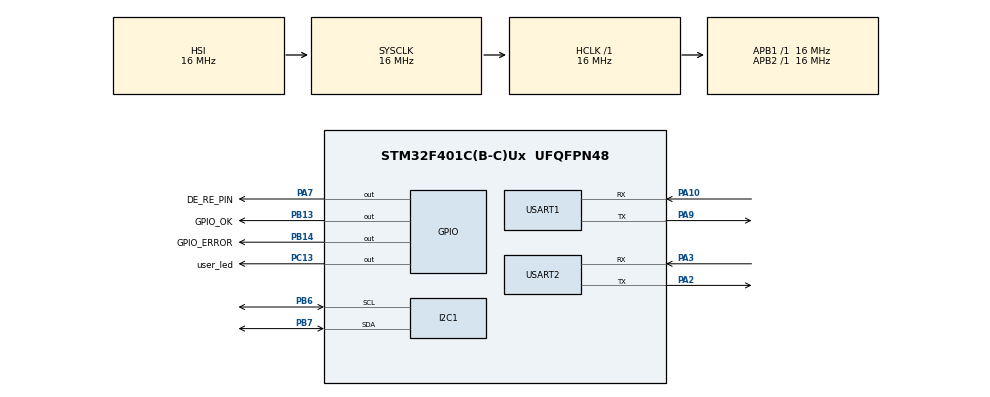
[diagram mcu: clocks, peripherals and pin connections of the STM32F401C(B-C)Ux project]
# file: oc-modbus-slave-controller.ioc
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FREERTOS.Tasks01=defaultTask,0,128,StartDefaultTask,Default,NULL,Dynamic,NULL,NULL
Mcu.Family=STM32F4
Mcu.Name=STM32F401C(B-C)Ux
Mcu.Package=UFQFPN48
NVIC.PriorityGroup=NVIC_PRIORITYGROUP_4
NVIC.TIM1_UP_TIM10_IRQn=true\:15\:0\:false\:false\:true\:false\:false\:true\:true
NVIC.TimeBase=TIM1_UP_TIM10_IRQn
NVIC.TimeBaseIP=TIM1
NVIC.USART2_IRQn=true\:5\:0\:false\:false\:true\:true\:true\:true\:true
PA10.Mode=Asynchronous
PA10.Signal=USART1_RX
PA13.Mode=Serial_Wire
PA13.Signal=SYS_JTMS-SWDIO
PA14.Mode=Serial_Wire
PA14.Signal=SYS_JTCK-SWCLK
PA2.Mode=Asynchronous
PA2.Signal=USART2_TX
PA3.Mode=Asynchronous
PA3.Signal=USART2_RX
PA7.GPIO_Label=DE_RE_PIN
PA7.Signal=GPIO_Output
PA9.Mode=Asynchronous
PA9.Signal=USART1_TX
PB13.GPIO_Label=GPIO_OK
PB13.Signal=GPIO_Output
PB14.GPIO_Label=GPIO_ERROR
PB14.Signal=GPIO_Output
PB6.Mode=I2C
PB6.Signal=I2C1_SCL
PB7.Mode=I2C
PB7.Signal=I2C1_SDA
PC13-ANTI_TAMP.GPIO_Label=user_led
PC13-ANTI_TAMP.Signal=GPIO_Output
PH0\ -\ OSC_IN.Mode=HSE-External-Oscillator
PH0\ -\ OSC_IN.Signal=RCC_OSC_IN
PH1\ -\ OSC_OUT.Mode=HSE-External-Oscillator
PH1\ -\ OSC_OUT.Signal=RCC_OSC_OUT
ProjectManager.HeapSize=0x200
ProjectManager.StackSize=0x400
ProjectManager.TargetToolchain=STM32CubeIDE
RCC.AHBFreq_Value=16000000
RCC.APB1Freq_Value=16000000
RCC.APB2Freq_Value=16000000
RCC.CortexFreq_Value=16000000
RCC.HSE_VALUE=25000000
RCC.HSI_VALUE=16000000
RCC.LSE_VALUE=32768
RCC.SYSCLKFreq_VALUE=16000000
RCC.VCOOutputFreq_Value=192000000
USART1.VirtualMode=VM_ASYNC
USART2.VirtualMode=VM_ASYNC
VP_FREERTOS_VS_CMSIS_V1.Mode=CMSIS_V1
VP_SYS_VS_tim1.Mode=TIM1
board=custom

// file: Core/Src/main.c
/* USER CODE BEGIN Header */
/**
  ******************************************************************************
  * @file           : main.c
  * @brief          : Main program body
  ******************************************************************************
  * @attention
  *
  * Copyright (c) 2025 STMicroelectronics.
  * All rights reserved.
  *
  * This software is licensed under terms that can be found in the LICENSE file
  * in the root directory of this software component.
  * If no LICENSE file comes with this software, it is provided AS-IS.
  *
  *
  * THIS IS THE SLAVE DEVICE
  ******************************************************************************
  */
/* USER CODE END Header */
#include "main.h"
#include "cmsis_os.h"

/* USER CODE BEGIN Includes */
#include "custom_types.h"
#include "string.h"
#include "stdio.h"
#include "state_machine.h"
#include "defines.h"
#include "relays.h" // todo: create a task to control the relays
#include "modbus_rtu.h"

#if MODBUS_TCP_ENABLE
#include "modbus_tcp.h"
#endif

#include "modbus.h"

/* USER CODE END Includes */

/* USER CODE BEGIN PD */

/** modbus variables */
int modbus_rx_len = 0; // actual received modbus message length
uint8_t modbus_rx_message[MODBUS_RTU_MAX_SIZE] = {0}; // to hold the received modbus message
char uart_buff[10] = {0}; // for debug

/**
 * Device state machine
 * system starts in nominal mode unless something puts it into fault mode
 * Fault can
 */
Device_state_t system_state = STATE_NOMINAL;

/* USER CODE END PD */

I2C_HandleTypeDef hi2c1;

UART_HandleTypeDef huart1;
UART_HandleTypeDef huart2;

osThreadId defaultTaskHandle;
/* USER CODE BEGIN PV */
osThreadId x_task_receive_modbus_RTU_handle;

#if MODBUS_TCP_ENABLE
osThreadId x_task_receive_modbus_TCP_handle;
#endif
osThreadId x_task_relay_control_handle;
osThreadId x_task_ethernet_control_handle;
osThreadId x_task_get_device_diagnostics_handle;
osThreadId x_task_print_to_terminal_handle;
osThreadId x_task_clean_modbus_RTU_queue_handle;
osThreadId x_task_modbus_RTU_dispatcher_handle;
osThreadId x_task_led_blink_handle;

//============ DATA QUEUE HANDLES  ============
QueueHandle_t modbus_RTU_queue_handle;

#if MODBUS_TCP_ENABLE
QueueHandle_t modbus_TCP_queue_handle;
#endif

QueueHandle_t modbus_RTU_dispatcher_queue_handle;
QueueHandle_t modbus_RTU_print_to_terminal_queue_handle;

// =========== SEMAPHORE HANDLES ===============
SemaphoreHandle_t uart_print_mutex;
SemaphoreHandle_t x_relay_control_semaphore;

// ============ EVENT GROUPS =================
#define RECEIVE_MODBUS_RTU_BIT		(1 << 0UL)		// bit set if MODBUS RTU received from MODBUS_RTU queue
#define PRINT_TO_TERMINAL_BIT		(1 << 1UL)		// bit set if Print to terminal task received from MODBUS_RTU queque

EventGroupHandle_t modbus_RTU_event_group_handle;

// diagnostics variable
diagnostics_type_t diagnostics;
char uart_tx_buffer[255]; // todo: remove magic buffer size

MAX485 _max485;
MAX485_instance _max485_driver = &_max485;

/* USER CODE END PV */

void SystemClock_Config(void);
static void MX_GPIO_Init(void);
static void MX_USART1_UART_Init(void);
static void MX_I2C1_Init(void);
static void MX_USART2_UART_Init(void);
void StartDefaultTask(void const * argument);

/* USER CODE BEGIN PFP */

/**
 * ====================== Function prototypes ===========================
 */

#ifdef __GNUC__
  int __io_putchar(int ch) {
      HAL_UART_Transmit(&huart1, (uint8_t *)&ch, 1, HAL_MAX_DELAY);
      return ch;
  }
#else
  int fputc(int ch, FILE *f) {
      HAL_UART_Transmit(&huart1, (uint8_t *)&ch, 1, HAL_MAX_DELAY);
      return ch;
  }
#endif

/**
 * @brief Function to print to console
 */
void UART_print(const char* msg);

/**
 * @brief Function to send data to MODBUS master
 *
 */
void send_modbus_data_to_UART1(char* msg);

/**
 * @brief send response to master
 */
void MODBUS_send_response(uint8_t* response, uint16_t len);

/**
 * @brief Reply to MODBUS
 */
void modbus_reply(char* msg, uint16_t length);

/**
 * Task prototypes
 *
 */
void x_task_receive_modbus_RTU(void const* argument);

#if MODBUS_TCP_ENABLE
void x_task_receive_modbus_TCP(void const* argument);
#endif

void x_task_relay_control(void const* argument);
void x_task_ethernet_control(void const* argument);
void x_task_get_device_diagnostics(void const* argument);
void x_task_print_to_terminal(void const* argument);
void x_task_clean_modbus_RTU_queue(void const* argument);
void x_task_modbus_RTU_dispatcher(void const* argument);
void x_task_led_handle(void const* argument);
void x_task_led_blink(void const* argument);

/* USER CODE END PFP */

/* USER CODE BEGIN 0 */

/**
 * @fn void UART_print(const char*)
 * @brief This function prints messages to serial terminal on UART 1
 *
 * todo: create a serial debug object to add ability to change whch uart is used for debug
 *
 * @param msg char buffer to print
 */
void UART_print(const char* msg) {
//	xSemaphoreTake(uart_print_mutex, 1000);

	{
		HAL_UART_Transmit(&huart1, (uint8_t*) msg, strlen(msg), HAL_MAX_DELAY);
	}

//	xSemaphoreGive(uart_print_mutex);

}

/* USER CODE END 0 */

int main(void)
{

  /* MCU Configuration--------------------------------------------------------*/

  /* Reset of all peripherals, Initializes the Flash interface and the Systick. */
  HAL_Init();

  /* Configure the system clock */
  SystemClock_Config();

  /* Initialize all configured peripherals */
  MX_GPIO_Init();
  MX_USART1_UART_Init();
  MX_I2C1_Init();
  MX_USART2_UART_Init();
  /* USER CODE BEGIN 2 */

  // enable IDLE LINE INTERRUPT for UART2 that is connected to MAX485 module
  HAL_UARTEx_ReceiveToIdle_IT(&huart2, modbus_rx_message, MODBUS_RTU_MAX_SIZE);

  UART_print("\r\n======= MODBUS SLAVE DEVICE ======= \r\n");
  HAL_Delay(1000);

  MAX485_init(_max485_driver);

  /* initialize modbus holding registers */
  modbus_rtu_init_holding_regs(holding_registers, NUM_HOLDING_REGISTERS);

  /* USER CODE END 2 */

  /* USER CODE BEGIN RTOS_SEMAPHORES */
  uart_print_mutex = xSemaphoreCreateMutex();
  if(uart_print_mutex != NULL) {
	  HAL_UART_Transmit(&huart1, (uint8_t*)"UART Mutex created OK\r\n", strlen("UART Mutex created OK\r\n"), 1000);
  } else {
	  HAL_UART_Transmit(&huart1, (uint8_t*)"Failed to create UART Mutex\r\n", strlen("Failed to create UART Mutex\r\n"), 1000);
  }

  //x_relay_control_semaphore = xSemapahoreCreateBinary();

  modbus_RTU_event_group_handle = xEventGroupCreate();
  if(modbus_RTU_event_group_handle == NULL) {
	  UART_print("Modbus RTU event group failed to create OK\r\n");
  } else {
	  UART_print("Modbus RTU event group created OK\r\n");
  }

  /* USER CODE END RTOS_SEMAPHORES */

  /* USER CODE BEGIN RTOS_QUEUES */
  /* add queues, ... */
  modbus_RTU_queue_handle = xQueueCreate(5, sizeof(ModBus_RTU_type_t)); // todo: check for successful creation

  if(modbus_RTU_queue_handle != NULL) {
	  //UART_print("MODBUS queue created OK");
	  HAL_UART_Transmit(&huart1,(uint8_t*)"MODBUS RTU queue created OK\r\n", strlen("MODBUS RTU queue created OK\r\n"), HAL_MAX_DELAY);
  } else {
	  //UART_print("MODBUS queue failed to create");
	  HAL_UART_Transmit(&huart1,(uint8_t*)"MODBUS RTU queue failed to create\r\n", strlen("MODBUS RTU queue failed to create\r\n"), HAL_MAX_DELAY);
  }

#if MODBUS_TCP_ENABLE
  modbus_TCP_queue_handle = xQueueCreate(5, sizeof(Modbus_tcp_type_t));

  if(modbus_TCP_queue_handle != NULL) {
	  HAL_UART_Transmit(&huart1,(uint8_t*)"MODBUS TCP queue created OK\r\n", strlen("MODBUS TCP queue created OK\r\n"), HAL_MAX_DELAY);
  } else {
	  HAL_UART_Transmit(&huart1,(uint8_t*)"MODBUS TCP queue failed to create\r\n", strlen("MODBUS TCP queue failed to create\r\n"), HAL_MAX_DELAY);

  }
#endif

  modbus_RTU_dispatcher_queue_handle = xQueueCreate(5, sizeof(ModBus_RTU_type_t));
  if(modbus_RTU_dispatcher_queue_handle != NULL) {
	  HAL_UART_Transmit(&huart1,(uint8_t*)"MODBUS dispatcher queue created OK\r\n", strlen("MODBUS dispatcher queue created OK\r\n"), HAL_MAX_DELAY);
  } else {
	  HAL_UART_Transmit(&huart1,(uint8_t*)"MODBUS dispatcher queue failed to create\r\n", strlen("MODBUS dispatcher queue failed to create\r\n"), HAL_MAX_DELAY);
  }

  modbus_RTU_print_to_terminal_queue_handle = xQueueCreate(5, sizeof(ModBus_RTU_type_t));
  if(modbus_RTU_print_to_terminal_queue_handle != NULL) {
	  HAL_UART_Transmit(&huart1,(uint8_t*)"MODBUS printer queue created OK\r\n", strlen("MODBUS printer queue created OK\r\n"), HAL_MAX_DELAY);
  } else {
	  HAL_UART_Transmit(&huart1,(uint8_t*)"MODBUS printer queue failed to create\r\n", strlen("MODBUS printer queue failed to create\r\n"), HAL_MAX_DELAY);
  }

  /* USER CODE END RTOS_QUEUES */

  /* Create the thread(s) */
  /* definition and creation of defaultTask */
  osThreadDef(defaultTask, StartDefaultTask, osPriorityNormal, 0, 128);
  defaultTaskHandle = osThreadCreate(osThread(defaultTask), NULL);

  /* USER CODE BEGIN RTOS_THREADS */
  /* add threads, ... */

  osThreadDef(RTU_msg_dispatcher, x_task_modbus_RTU_dispatcher, 2, 0, 200); /* task to forward received MODBUS RTU message to consumers */
  x_task_modbus_RTU_dispatcher_handle = osThreadCreate(osThread(RTU_msg_dispatcher), NULL);

  if(x_task_modbus_RTU_dispatcher_handle != NULL) {
	  UART_print("Created RTU dispatcher task OK\r\n");
  } else {
	  UART_print("Failed to create RTU dispatcher task\r\n");
  }

  osThreadDef(get_device_diagnostics, x_task_get_device_diagnostics, osPriorityIdle + 3, 0, 200); // task to get the device parameters
  x_task_get_device_diagnostics_handle = osThreadCreate(osThread(get_device_diagnostics), NULL);

  osThreadDef(receive_modbus_RTU, x_task_receive_modbus_RTU, osPriorityNormal , 0, 200); // task to receive MODBUS data
  x_task_receive_modbus_RTU_handle = osThreadCreate(osThread(receive_modbus_RTU), NULL);

  if(x_task_receive_modbus_RTU_handle != NULL) {
	  UART_print("Created MODBUS RTU processor task\r\n");
  } else {
	  UART_print("Failed to create MODBUS RTU processor task\r\n");
  }

#if MODBUS_TCP_ENABLE
  osThreadDef(receive_modbus_TCP, x_task_receive_modbus_TCP, osPriorityIdle + 3, 0, 128); // task to receive data via MODBUS TCP
  x_task_receive_modbus_TCP_handle = osThreadCreate(osThread(receive_modbus_TCP), NULL);
#endif

  osThreadDef(print_to_terminal, x_task_print_to_terminal, osPriorityNormal, 0, 1024); // task to print to UART if using UART debug
  x_task_print_to_terminal_handle = osThreadCreate(osThread(print_to_terminal), NULL);

////  /* osThreadDef(clean_modbus_queue, x_task_clean_modbus_RTU_queue, osPriorityNormal, 0, 128); // task to dequeue items from MODBUS RTU task */
////  /* x_task_clean_modbus_RTU_queue_handle = osThreadCreate(osThread(clean_modbus_queue), NULL); */
//
//  osThreadDef(control_relay, x_task_relay_control, osPriorityNormal , 0, 1024); // task to control relays
//  x_task_relay_control_handle = osThreadCreate(osThread(control_relay), NULL);
//
////  osThreadDef(ethernet_control, x_task_ethernet_control, osPriorityNormal , 0, 1024); // task to control ethernet communicattion
////  x_task_ethernet_control_handle = osThreadCreate(osThread(ethernet_control), NULL);

  osThreadDef(led_blink, x_task_led_blink, osPriorityNormal, 0, 128); /* task to blink LED based on the system state (fault or nominal) */
  x_task_led_blink_handle = osThreadCreate(osThread(led_blink), NULL);

  // todo -> check successful task creation

  /* USER CODE END RTOS_THREADS */

  /* Start scheduler */
  osKernelStart();

  /* We should never get here as control is now taken by the scheduler */

  /* Infinite loop */
  while (1)
  {

  }
}

void SystemClock_Config(void)
{
  RCC_OscInitTypeDef RCC_OscInitStruct = {0};
  RCC_ClkInitTypeDef RCC_ClkInitStruct = {0};

  /** Configure the main internal regulator output voltage
  */
  __HAL_RCC_PWR_CLK_ENABLE();
  __HAL_PWR_VOLTAGESCALING_CONFIG(PWR_REGULATOR_VOLTAGE_SCALE2);

  /** Initializes the RCC Oscillators according to the specified parameters
  * in the RCC_OscInitTypeDef structure.
  */
  RCC_OscInitStruct.OscillatorType = RCC_OSCILLATORTYPE_HSI;
  RCC_OscInitStruct.HSIState = RCC_HSI_ON;
  RCC_OscInitStruct.HSICalibrationValue = RCC_HSICALIBRATION_DEFAULT;
  RCC_OscInitStruct.PLL.PLLState = RCC_PLL_NONE;
  if (HAL_RCC_OscConfig(&RCC_OscInitStruct) != HAL_OK)
  {
    Error_Handler();
  }

  /** Initializes the CPU, AHB and APB buses clocks
  */
  RCC_ClkInitStruct.ClockType = RCC_CLOCKTYPE_HCLK|RCC_CLOCKTYPE_SYSCLK
                              |RCC_CLOCKTYPE_PCLK1|RCC_CLOCKTYPE_PCLK2;
  RCC_ClkInitStruct.SYSCLKSource = RCC_SYSCLKSOURCE_HSI;
  RCC_ClkInitStruct.AHBCLKDivider = RCC_SYSCLK_DIV1;
  RCC_ClkInitStruct.APB1CLKDivider = RCC_HCLK_DIV1;
  RCC_ClkInitStruct.APB2CLKDivider = RCC_HCLK_DIV1;

  if (HAL_RCC_ClockConfig(&RCC_ClkInitStruct, FLASH_LATENCY_0) != HAL_OK)
  {
    Error_Handler();
  }
}

static void MX_I2C1_Init(void)
{

  hi2c1.Instance = I2C1;
  hi2c1.Init.ClockSpeed = 100000;
  hi2c1.Init.DutyCycle = I2C_DUTYCYCLE_2;
  hi2c1.Init.OwnAddress1 = 0;
  hi2c1.Init.AddressingMode = I2C_ADDRESSINGMODE_7BIT;
  hi2c1.Init.DualAddressMode = I2C_DUALADDRESS_DISABLE;
  hi2c1.Init.OwnAddress2 = 0;
  hi2c1.Init.GeneralCallMode = I2C_GENERALCALL_DISABLE;
  hi2c1.Init.NoStretchMode = I2C_NOSTRETCH_DISABLE;
  if (HAL_I2C_Init(&hi2c1) != HAL_OK)
  {
    Error_Handler();
  }

}

static void MX_USART1_UART_Init(void)
{

  huart1.Instance = USART1;
  huart1.Init.BaudRate = 115200;
  huart1.Init.WordLength = UART_WORDLENGTH_8B;
  huart1.Init.StopBits = UART_STOPBITS_1;
  huart1.Init.Parity = UART_PARITY_NONE;
  huart1.Init.Mode = UART_MODE_TX_RX;
  huart1.Init.HwFlowCtl = UART_HWCONTROL_NONE;
  huart1.Init.OverSampling = UART_OVERSAMPLING_16;
  if (HAL_UART_Init(&huart1) != HAL_OK)
  {
    Error_Handler();
  }

}

static void MX_USART2_UART_Init(void)
{

  huart2.Instance = USART2;
  huart2.Init.BaudRate = 115200;
  huart2.Init.WordLength = UART_WORDLENGTH_8B;
  huart2.Init.StopBits = UART_STOPBITS_1;
  huart2.Init.Parity = UART_PARITY_NONE;
  huart2.Init.Mode = UART_MODE_TX_RX;
  huart2.Init.HwFlowCtl = UART_HWCONTROL_NONE;
  huart2.Init.OverSampling = UART_OVERSAMPLING_16;
  if (HAL_UART_Init(&huart2) != HAL_OK)
  {
    Error_Handler();
  }

}

static void MX_GPIO_Init(void)
{
  GPIO_InitTypeDef GPIO_InitStruct = {0};

  /* GPIO Ports Clock Enable */
  __HAL_RCC_GPIOC_CLK_ENABLE();
  __HAL_RCC_GPIOH_CLK_ENABLE();
  __HAL_RCC_GPIOA_CLK_ENABLE();
  __HAL_RCC_GPIOB_CLK_ENABLE();

  /*Configure GPIO pin Output Level */
  HAL_GPIO_WritePin(user_led_GPIO_Port, user_led_Pin, GPIO_PIN_RESET);

  /*Configure GPIO pin Output Level */
  HAL_GPIO_WritePin(DE_RE_PIN_GPIO_Port, DE_RE_PIN_Pin, GPIO_PIN_RESET);

  /*Configure GPIO pin Output Level */
  HAL_GPIO_WritePin(GPIOB, GPIO_OK_Pin|GPIO_ERROR_Pin, GPIO_PIN_RESET);

  /*Configure GPIO pin : user_led_Pin */
  GPIO_InitStruct.Pin = user_led_Pin;
  GPIO_InitStruct.Mode = GPIO_MODE_OUTPUT_PP;
  GPIO_InitStruct.Pull = GPIO_NOPULL;
  GPIO_InitStruct.Speed = GPIO_SPEED_FREQ_LOW;
  HAL_GPIO_Init(user_led_GPIO_Port, &GPIO_InitStruct);

  /*Configure GPIO pin : DE_RE_PIN_Pin */
  GPIO_InitStruct.Pin = DE_RE_PIN_Pin;
  GPIO_InitStruct.Mode = GPIO_MODE_OUTPUT_PP;
  GPIO_InitStruct.Pull = GPIO_NOPULL;
  GPIO_InitStruct.Speed = GPIO_SPEED_FREQ_LOW;
  HAL_GPIO_Init(DE_RE_PIN_GPIO_Port, &GPIO_InitStruct);

  /*Configure GPIO pins : GPIO_OK_Pin GPIO_ERROR_Pin */
  GPIO_InitStruct.Pin = GPIO_OK_Pin|GPIO_ERROR_Pin;
  GPIO_InitStruct.Mode = GPIO_MODE_OUTPUT_PP;
  GPIO_InitStruct.Pull = GPIO_NOPULL;
  GPIO_InitStruct.Speed = GPIO_SPEED_FREQ_LOW;
  HAL_GPIO_Init(GPIOB, &GPIO_InitStruct);

}

/* USER CODE BEGIN 4 */

/**
 * @fn void x_task_get_device_diagnostics(const void*)
 * @brief Get the device diagnostics values (see firmware docs for more info)
 *
 * @param args parameter to the task
 */
void x_task_get_device_diagnostics(void const* args) {
	for(;;) {
		diagnostics.chip_parameters.uid[0] = HAL_GetUIDw0();		// read the chip's UID
		diagnostics.chip_parameters.uid[0] = HAL_GetUIDw0();
		diagnostics.chip_parameters.uid[2] = HAL_GetUIDw0();        // todo: create a 96 bit struct for this (64 bit + 32 bit)

		uint32_t core_freq = HAL_RCC_GetHCLKFreq();					// read the HCLK frequency. todo: read PCLK low freq speed
		diagnostics.chip_parameters.core_frequency = core_freq;

		diagnostics.free_heap_size = xPortGetFreeHeapSize();			// free heap size at the time this function is called
		diagnostics.minimum_ever_free_heap_size = xPortGetMinimumEverFreeHeapSize();

		sprintf(uart_tx_buffer,   // package uart message
				"UID: %lu%lu%lu, HCLK: %lu, FREE_HEAP: %u, MIN_EVER_HEAP: %u \r\n",
				diagnostics.chip_parameters.uid[0],
				diagnostics.chip_parameters.uid[1],
				diagnostics.chip_parameters.uid[2],
				diagnostics.chip_parameters.core_frequency,
				diagnostics.free_heap_size,
				diagnostics.minimum_ever_free_heap_size
		);

		// save this data into a holding register

		vTaskDelay(pdMS_TO_TICKS(10));

	}
}

/**
 * @fn void x_task_print_to_terminal(const void*)
 * @brief This task prints modbus RTU received packet to terminal
 *
 * @param arguments
 */
void x_task_print_to_terminal(void const* arguments ) {
	ModBus_RTU_type_t modbus_packet;
	uint16_t pkt_len;

	for(;;) {

		if(xQueueReceive(modbus_RTU_print_to_terminal_queue_handle, &modbus_packet, 200) == pdTRUE) {

			pkt_len = modbus_packet.len;
			printf("Dequeued packet, len=%u bytes\r\n", pkt_len);

			for(size_t i=0; i < pkt_len; i++) {
				printf("%02X ", modbus_packet.data[i]);
			}
			printf("\r\n");

		}
	}
}

/**
 * @brief send MODBUS message to UART1 for debugging
 */
void send_modbus_data_to_UART1(char* msg) {
	// enable transmit
	HAL_UART_Transmit(&huart1, (uint8_t*)msg, strlen(  (char*) msg), HAL_MAX_DELAY); // check delay time in prod code

}

void MODBUS_send_response(uint8_t* response, uint16_t len) {
	HAL_UART_Transmit(&huart2, response, len, HAL_MAX_DELAY);
}

/**
 * @brief This task receives MODBUS data from the master and parses it
 */
void x_task_receive_modbus_RTU(void const* argument) {
	ModBus_RTU_type_t modbus_message;
	uint8_t response[MODBUS_RTU_MAX_SIZE];  // this will hold the slave response back to master

	for(;;) {
		if(xQueueReceive(modbus_RTU_queue_handle, &modbus_message, 500) == pdTRUE) {
			//UART_print("Received request from master OK\r\n");
			// debug via USART1

//			if(modbus_message.len < 4) continue; // skip this frame its too short

//			// check CRC
//			uint16_t crc_hi = modbus_message.data[modbus_message.len - 1];
//			uint16_t crc_lo = modbus_message.data[modbus_message.len - 2];
//			uint16_t received_crc = (crc_hi << 8) | crc_lo;

			/* calculate crc and compare */
			//uint16_t calculated_crc = MAX485_calculate_CRC(modbus_message.data, modbus_message.len - 2);

//			if(received_crc != calculated_crc) {
//				continue; // ignore bad CRC
//			}

			/* check if this message is addressed for me */
//			uint8_t received_slave_id = modbus_message.data[0];
//			if((received_slave_id != SLAVE_ID ) && received_slave_id != 0 ) {
//				continue;
//			}

			/* check what function code was received */
//			uint8_t function_code = modbus_message.data[1];

			/* todo: check for an array of supported functions */

			/* handle the received function code */
//			uint16_t response_length = MODBUS_handle_function(received_slave_id, function_code, modbus_message.data,  response, MODBUS_RTU);

			/* respond to master */
			//MODBUS_send_response(response, response_length);

		} else {
			UART_print("Failed to receive RTU master request\r\n");
		}

	}

}

#if MODBUS_TCP_ENABLE
/**
 * @brief This task receives MODBUS data via MODBUS TCP
 */
void x_task_receive_modbus_TCP(void const* arguments) {
	Modbus_tcp_type_t modbus_tcp_pkt;
	uint8_t modbus_tcp_response[MODBUS_TCP_MAX_SIZE];
	uint16_t response_len = 0;

	for(;;) {
		/* peek from ModBus TCP queue */
		if(xQueuePeek(modbus_TCP_queue_handle, &modbus_tcp_pkt, portMAX_DELAY) == pdPASS) { // todo: remove MAX delay

			if(modbus_tcp_pkt.len < 8) {  /* MBAP header(7 bytes) + function(1 byte) is 8 bytes todo: get this length from the function receiving the TCP packet */
				continue;				/* ignore and jump to the next iteration of the loop */
			}

			uint16_t transaction_id = (modbus_tcp_pkt.data[0] << 8) | (modbus_tcp_pkt.data[1]); ///< MBAP valyes
			uint16_t protocol_id = (modbus_tcp_pkt.data[2] << 8) | (modbus_tcp_pkt.data[3]);
			uint16_t length_id = (modbus_tcp_pkt.data[4] << 8) | (modbus_tcp_pkt.data[5]);
			uint8_t unit_id = modbus_tcp_pkt.data[6];  // slave ID

			uint8_t function_code = modbus_tcp_pkt.data[7];		///< Protocol Data Unit (PDU)
			uint8_t* modbus_data = &modbus_tcp_pkt.data[8];

			// get the length of the PDU
			uint16_t pdu_len = modbus_tcp_pkt.len - 7; // MBAP is 7 bytes

			// check and operate on the function code
			// this is the length of the PDU only
			//response_len = modbus_tcp_handle(function_code, pdu_data, pdu_length, response);

			// build back the header (7 bytes)
			modbus_tcp_response[0] = transaction_id >> 8; // hi byte
			modbus_tcp_response[1] = transaction_id  & 0xFF; // lo byte
			modbus_tcp_response[2] = 0x00;					// protocol ID is 0 always
			modbus_tcp_response[3] = 0x00;
			modbus_tcp_response[4] = (response_len + 1) >> 8;
			modbus_tcp_response[5] = (response_len + 1) & 0xFF;
			modbus_tcp_response[6] = unit_id; // slave ID

			// get the total length of the packet including MBAP header
			uint16_t total_length = response_len + 7;

			// todo: send back this response to master
			//modbus_tcp_send_response();

			// send response via ModBus TCP
		} else {
			// todo: error/debug
		}

		// update event bit
		//xEventGroupSetBits(modbus_TCP_event_group_handle, )
	}
}
#endif

/**
 * @brief Reply to MODBUS Master
 */
void modbus_reply(char* msg, uint16_t length) {
	HAL_GPIO_WritePin(DE_RE_PIN_GPIO_Port, DE_RE_PIN_Pin, GPIO_PIN_SET);

	// send data
	HAL_UART_Transmit(&huart2, modbus_rx_message, strlen((char*)modbus_rx_message), 500);

	// enable receive
	HAL_GPIO_WritePin(DE_RE_PIN_GPIO_Port, DE_RE_PIN_Pin, GPIO_PIN_RESET);
}

/**
 * @brief This task controls the relays
 */
void x_task_relay_control(void const* arguments) {
	for(;;) {
		// if can take semaphore,
		// HAL write relay banks
		//give semaphore
	}
}

/**
 * @brief This task controls ethernet communication
 */
void x_task_ethernet_control(void const* argument) {
	for(;;) {

	}
}

/**
 * @brief This task removes data from MODBUS RTU queue after all teh consuming tasks are done peeking
 * the queue
 */

/*
void x_task_clean_modbus_RTU_queue(void const* argument) {

	const EventBits_t x_bits_to_wait_for = (PRINT_TO_TERMINAL_BIT | RECEIVE_MODBUS_RTU_BIT); ///< wait for these 2 bits to be set
	ModBus_RTU_type_t modbus_RTU_message; ///< variable to save the removed value to

	for(;;) {

		xEventGroupWaitBits(
				modbus_RTU_event_group_handle, 		///< event group handle to wait for
				x_bits_to_wait_for, 			///< bit sequence to wait for
				pdTRUE, 						///< clear all bits on exit if unblock condition is met
				pdTRUE, 						///< wait for all bits to be set
				HAL_MAX_DELAY); 				///< TODO: remove this from MAX in prod

		// at this point all the items have been received by consumer
		if(xQueueReceive(modbus_RTU_queue_handle, &modbus_RTU_message, HAL_MAX_DELAY) == pdPASS) { // todo: use a defined time in prod
			UART_print("Dequeue MODBUS RTU OK");
		} else {
			UART_print("Failed to Dequeue MODBUS RTU");
		}
	};

}
*/

/**
 * @brief dispatch modbusRTU messages to consumers
 */
void x_task_modbus_RTU_dispatcher(void const * arguments) {
	ModBus_RTU_type_t modbus_pkt;
	UART_print("Modbus dispatcher\r\n");

	for(;;) {
		if(xQueueReceive(modbus_RTU_dispatcher_queue_handle, &modbus_pkt, 200) == pdTRUE){  /* todo: define wait time */
			//UART_print("Received RTU packet from UARTEx callback\r\n");
		} else {
			//UART_print("Failed to receive RTU packet from UARTEx callback\r\n");
		}

		/* dispatch the received item to per consumer queues */
		/* todo: check for successful queue send */
		if(xQueueSend(modbus_RTU_queue_handle, &modbus_pkt, 1000) == pdTRUE) {
			//UART_print("Sent RTU packet to Modbus RTU handler\r\n");
		} else {
			//UART_print("Failed to send RTU packet to Modbus RTU handler\r\n");
		}

		if(xQueueSend(modbus_RTU_print_to_terminal_queue_handle, &modbus_pkt, 1000) == pdTRUE) {
			//UART_print("Sent RTU packet to print terminal\r\n");
		} else {
			//UART_print("Failed to send RTU packet to print terminal\r\n");
		}

	}
}

/**
 * @brief blink LED based on the system state
 */
void x_task_led_blink(void const* argument) {
	/* create a local copy to shadow the overall system state */
	//Device_state_t local_state = system_state;
//	unsigned long blink_time = 0;

	for(;;) {
		HAL_GPIO_TogglePin(GPIO_ERROR_GPIO_Port, GPIO_ERROR_Pin);
		vTaskDelay(pdMS_TO_TICKS(1500));
	}
}

/**
 * @brief Callback called when IDLE is detected or we a re done receiving MODBUS Message
 */
void HAL_UARTEx_RxEventCallback(UART_HandleTypeDef *huart, uint16_t Size) {

	if(huart->Instance == USART2) { 			  // MAX485 is connected to USART2
		ModBus_RTU_type_t msg;

		/* do not use a UART mutex here because this callback behaves like an ISR */
		//HAL_UART_Transmit(&huart1, (uint8_t*)"Data arrived on MODBUS\r\n", strlen("Data arrived on MODBUS\r\n"), 1000);
		UART_print("Data arrived on MODBUS\r\n");

		/* clear the modbus packet buffer */
		memset(&msg, 0, sizeof(ModBus_RTU_type_t));

		msg.len = Size; 						   // whatever length that has been received
		memcpy(msg.data, modbus_rx_message, Size); // copy to MODBUS data field

		BaseType_t xHigherPriorityTaskWoken = pdFALSE;
		if(xQueueSendFromISR(modbus_RTU_dispatcher_queue_handle, &msg, &xHigherPriorityTaskWoken) == pdPASS) {
			//HAL_UART_Transmit(&huart1, (uint8_t*)"Sent MODBUS RTU packet to queue from ISR\r\n", strlen("Sent MODBUS RTU packet to queue from ISR\r\n"), 1000);
		} else {
			//HAL_UART_Transmit(&huart1, (uint8_t*)"errQueueFull: Failed to send MODBUS RTU packet to queue from ISR\r\n", strlen("errQueueFull: Failed to send MODBUS RTU packet to queue from ISR\r\n"), 1000);
		}

		// todo: check for failed queue send and log error

		portYIELD_FROM_ISR(xHigherPriorityTaskWoken);	// if task waiting for modbus has a higher priority, it will ranm(pre-empt a lower priroty task)

		HAL_UARTEx_ReceiveToIdle_IT(&huart2, (uint8_t*) modbus_rx_message, MODBUS_RTU_MAX_SIZE);

	} else {
		HAL_UART_Transmit(&huart1, (uint8_t*)"UARTEx interrupt failed\r\n", strlen("UARTEx interrupt failed\r\n"), 1000);
	}

}

/* USER CODE END 4 */

void StartDefaultTask(void const * argument)
{
  /* USER CODE BEGIN 5 */

  /* Infinite loop */
  for(;;)
  {
    osDelay(1);
    HAL_GPIO_TogglePin(GPIO_OK_GPIO_Port, GPIO_OK_Pin);
    HAL_Delay(pdMS_TO_TICKS(500));

  }
  /* USER CODE END 5 */
}

void HAL_TIM_PeriodElapsedCallback(TIM_HandleTypeDef *htim)
{
  if (htim->Instance == TIM1)
  {
    HAL_IncTick();
  }
}

void Error_Handler(void)
{
  __disable_irq();
  while (1)
  {
  }
}
